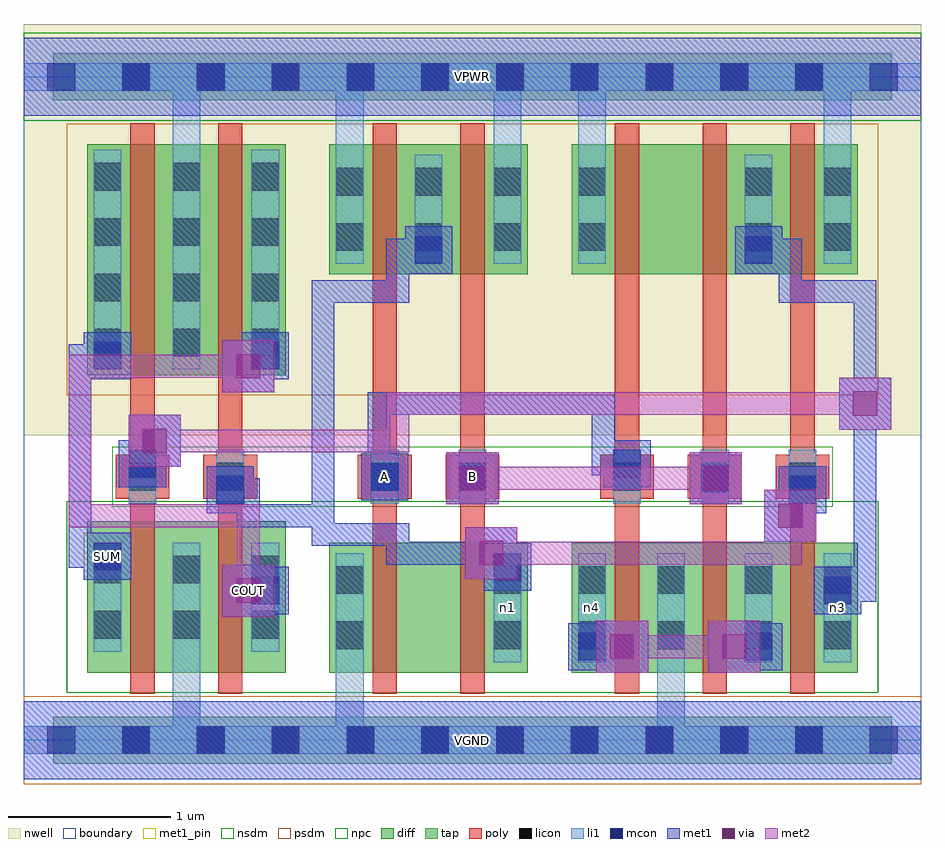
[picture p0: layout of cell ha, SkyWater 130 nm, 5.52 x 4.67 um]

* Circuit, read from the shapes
.subckt ha A B COUT SUM VGND VPWR n1 n3 n4
XM1 VGND n3 SUM VGND sky130_fd_pr__nfet_01v8 w=0.93 l=0.15
XM2 COUT n1 VGND VGND sky130_fd_pr__nfet_01v8 w=0.93 l=0.15
XM3 n2 A VGND VGND sky130_fd_pr__nfet_01v8 w=0.8 l=0.15
XM4 n1 B n2 VGND sky130_fd_pr__nfet_01v8 w=0.8 l=0.15
XM5 VGND A n4 VGND sky130_fd_pr__nfet_01v8 w=0.8 l=0.15
XM6 n4 B VGND VGND sky130_fd_pr__nfet_01v8 w=0.8 l=0.15
XM7 n3 n1 n4 VGND sky130_fd_pr__nfet_01v8 w=0.8 l=0.15
XM8 VPWR n3 SUM VPWR sky130_fd_pr__pfet_01v8 w=1.42 l=0.15
XM9 COUT n1 VPWR VPWR sky130_fd_pr__pfet_01v8 w=1.42 l=0.15
XM10 n1 A VPWR VPWR sky130_fd_pr__pfet_01v8 w=0.8 l=0.15
XM11 VPWR B n1 VPWR sky130_fd_pr__pfet_01v8 w=0.8 l=0.15
XM12 n5 A VPWR VPWR sky130_fd_pr__pfet_01v8 w=0.8 l=0.15
XM13 n3 B n5 VPWR sky130_fd_pr__pfet_01v8 w=0.8 l=0.15
XM14 VPWR n1 n3 VPWR sky130_fd_pr__pfet_01v8 w=0.8 l=0.15
.ends

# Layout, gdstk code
import gdstk
lib = gdstk.Library(unit=1e-6, precision=1e-09)
def R(c, l, rs):  # rectangles x0, y0, x1, y1
    for r in rs: c.add(gdstk.rectangle(r[:2], r[2:], *l))
def A(c, l, x, y, w, h, nx, ny, dx, dy):  # array of equal rectangles
    R(c, l, [(x+i*dx, y+j*dy, x+i*dx+w, y+j*dy+h) for i in range(nx) for j in range(ny)])
nwell = (64, 20)
diff = (65, 20)
tap = (65, 44)
poly = (66, 20)
licon = (66, 44)
li1 = (67, 20)
mcon = (67, 44)
met1_pin = (68, 16)
met1 = (68, 20)
via = (68, 44)
met2 = (69, 20)
nsdm = (93, 44)
psdm = (94, 20)
npc = (95, 20)
boundary = (235, 4)

c_ha = lib.new_cell('ha')
R(c_ha, nwell, [(0,1.875,5.52,4.405)])
R(c_ha, diff, [(0.39,0.415,1.61,1.345), (1.88,0.415,3.1,1.215), (3.37,0.415,5.13,1.215), (0.39,2.245,1.61,3.665), (1.88,2.865,3.1,3.665), (3.37,2.865,5.13,3.665)])
R(c_ha, tap, [(0.18,-0.145,5.34,0.145), (0.18,3.935,5.34,4.225)])
A(c_ha, poly, 3.635, 0.285, 0.15, 3.51, 3, 1, 0.54, 0)
A(c_ha, poly, 3.545, 1.485, 0.33, 0.27, 3, 1, 0.54, 0)
R(c_ha, poly, [(0.655,0.285,0.805,3.795), (1.195,0.285,1.345,3.795), (2.145,0.285,2.295,3.795), (2.685,0.285,2.835,3.795), (0.565,1.485,0.895,1.755), (1.105,1.485,1.435,1.755), (2.055,1.485,2.385,1.755), (2.595,1.485,2.925,1.755)])
A(c_ha, licon, 0.605, -0.085, 0.17, 0.17, 10, 2, 0.46, 4.08)
A(c_ha, licon, 0.43, 0.625, 0.17, 0.17, 3, 2, 0.485, 0.34)
A(c_ha, licon, 3.625, 1.535, 0.17, 0.17, 3, 1, 0.54, 0)
A(c_ha, licon, 0.43, 2.36, 0.17, 0.17, 3, 4, 0.485, 0.34)
A(c_ha, licon, 1.92, 3.01, 0.17, 0.17, 3, 2, 0.485, 0.34)
R(c_ha, licon, [(1.92,0.56,2.09,0.73), (2.89,0.56,3.06,0.73), (3.41,0.56,3.58,0.73), (3.895,0.56,4.065,0.73), (4.435,0.56,4.605,0.73), (4.92,0.56,5.09,0.73), (1.92,0.9,2.09,1.07), (2.89,0.9,3.06,1.07), (3.41,0.9,3.58,1.07), (3.895,0.9,4.065,1.07), (4.435,0.9,4.605,1.07), (4.92,0.9,5.09,1.07), (0.645,1.535,0.815,1.705), (1.185,1.535,1.355,1.705), (2.135,1.535,2.305,1.705), (2.675,1.535,2.845,1.705), (3.41,3.01,3.58,3.18), (4.435,3.01,4.605,3.18), (4.92,3.01,5.09,3.18), (3.41,3.35,3.58,3.52), (4.435,3.35,4.605,3.52), (4.92,3.35,5.09,3.52)])
A(c_ha, li1, 0.43, 0.545, 0.17, 0.67, 3, 1, 0.485, 0)
A(c_ha, li1, 3.625, 1.455, 0.17, 0.33, 3, 1, 0.54, 0)
A(c_ha, li1, 0.43, 2.28, 0.17, 1.35, 3, 1, 0.485, 0)
A(c_ha, li1, 1.92, 2.93, 0.17, 0.67, 3, 1, 0.485, 0)
R(c_ha, li1, [(0,-0.085,5.52,0.085), (0.915,-0.085,1.085,1.215), (1.92,-0.085,2.09,1.15), (3.895,-0.085,4.065,1.15), (1.92,0.48,2.09,1.15), (2.89,0.48,3.06,1.15), (3.41,0.48,3.58,1.15), (3.895,0.48,4.065,1.15), (4.435,0.48,4.605,1.15), (4.92,0.48,5.09,1.15), (0.645,1.455,0.815,1.785), (1.185,1.455,1.355,1.785), (2.135,1.455,2.305,1.785), (2.675,1.455,2.845,1.785), (0.915,2.28,1.085,4.165), (1.92,2.93,2.09,4.165), (2.89,2.93,3.06,4.165), (3.41,2.93,3.58,3.6), (3.41,2.93,3.58,4.165), (4.435,2.93,4.605,3.6), (4.92,2.93,5.09,3.6), (4.92,2.93,5.09,4.165), (0,3.995,5.52,4.165)])
A(c_ha, mcon, 0.145, -0.085, 0.17, 0.17, 12, 2, 0.46, 4.08)
R(c_ha, mcon, [(3.41,0.49,3.58,0.66), (4.435,0.49,4.605,0.66), (1.4,0.835,1.57,1.005), (4.92,0.835,5.09,1.005), (2.89,0.98,3.06,1.15), (0.43,1.045,0.6,1.215), (1.185,1.455,1.355,1.625), (4.705,1.455,4.875,1.625), (4.165,1.525,4.335,1.695), (2.135,1.535,2.305,1.705), (2.675,1.535,2.845,1.705), (0.645,1.615,0.815,1.785), (3.625,1.615,3.795,1.785), (0.43,2.28,0.6,2.45), (1.4,2.28,1.57,2.45), (2.405,2.93,2.575,3.1), (4.435,2.93,4.605,3.1)])
R(c_ha, met1_pin, [(0,-0.24,5.52,0.24), (1.22,0.76,1.54,1.08), (0.37,0.985,0.66,1.275), (2.075,1.475,2.365,1.765), (2.615,1.475,2.905,1.765), (0,3.84,5.52,4.32)])
R(c_ha, met1, [(0,-0.24,5.52,0.24), (3.52,0.415,3.84,0.735), (4.21,0.415,4.53,0.735), (3.35,0.43,3.64,0.72), (4.375,0.43,4.665,0.72), (3.425,0.505,3.75,0.645), (4.3,0.505,4.59,0.645), (1.22,0.76,1.54,1.08), (1.34,0.775,1.63,1.065), (4.86,0.775,5.15,1.065), (1.31,0.85,1.555,0.99), (4.935,0.85,5.245,0.99), (5.105,0.85,5.245,2.83), (2.83,0.92,3.12,1.21), (0.37,0.985,0.66,1.275), (2.715,0.99,3.035,1.31), (2.805,0.995,3.045,1.135), (2.805,0.995,2.945,1.22), (0.275,1.06,0.585,1.2), (0.275,1.06,0.415,1.335), (2.23,1.08,2.37,1.335), (2.23,1.08,2.945,1.22), (0.275,1.195,0.415,2.255), (1.77,1.195,2.37,1.335), (1.77,1.195,1.91,1.45), (4.555,1.22,4.875,1.54), (1.31,1.31,1.45,1.61), (1.31,1.31,1.91,1.45), (1.77,1.31,1.91,2.83), (4.645,1.31,4.785,1.61), (1.125,1.395,1.415,1.685), (4.645,1.395,4.935,1.685), (2.6,1.45,2.92,1.77), (4.095,1.45,4.415,1.77), (4.105,1.465,4.395,1.755), (1.2,1.47,1.45,1.61), (4.645,1.47,4.86,1.61), (2.075,1.475,2.365,1.765), (2.615,1.475,2.905,1.765), (2.115,1.54,2.255,1.68), (2.115,1.54,2.255,2.14), (2.69,1.54,2.83,1.68), (4.18,1.54,4.325,1.68), (0.585,1.555,0.875,1.845), (3.565,1.555,3.855,1.845), (0.66,1.63,0.875,1.77), (0.735,1.63,0.875,1.91), (3.495,1.63,3.635,1.91), (3.495,1.63,3.78,1.77), (0.645,1.68,0.965,2), (3.495,1.77,3.635,2.14), (5.015,1.91,5.335,2.23), (2.115,2,3.635,2.14), (0.275,2.115,0.415,2.435), (1.22,2.14,1.54,2.46), (0.37,2.22,0.66,2.51), (1.34,2.22,1.63,2.51), (1.31,2.23,1.45,2.435), (0.275,2.295,0.585,2.435), (1.31,2.295,1.555,2.435), (1.77,2.69,2.37,2.83), (2.23,2.69,2.37,2.945), (4.645,2.69,5.245,2.83), (4.645,2.69,4.785,2.945), (2.23,2.805,2.37,3.085), (4.645,2.805,4.785,3.085), (2.345,2.87,2.635,3.16), (4.375,2.87,4.665,3.16), (2.23,2.945,2.56,3.085), (4.45,2.945,4.785,3.085), (0,3.84,5.52,4.32)])
R(c_ha, via, [(3.605,0.5,3.755,0.65), (4.295,0.5,4.445,0.65), (1.305,0.845,1.455,0.995), (2.8,1.075,2.95,1.225), (4.64,1.305,4.79,1.455), (2.685,1.535,2.835,1.685), (4.18,1.535,4.33,1.685), (0.73,1.765,0.88,1.915), (5.1,1.995,5.25,2.145), (1.305,2.225,1.455,2.375)])
R(c_ha, met2, [(3.52,0.415,3.84,0.735), (4.21,0.415,4.53,0.735), (3.61,0.505,4.44,0.645), (1.22,0.76,1.54,1.08), (1.31,0.85,1.45,1.45), (2.715,0.99,3.035,1.31), (2.805,1.08,4.785,1.22), (4.645,1.08,4.785,1.45), (4.555,1.22,4.875,1.54), (0.275,1.31,1.45,1.45), (0.275,1.31,0.415,2.37), (2.6,1.45,2.92,1.77), (4.095,1.45,4.415,1.77), (2.69,1.54,4.325,1.68), (0.645,1.68,0.965,2), (0.735,1.77,2.37,1.91), (2.23,1.77,2.37,2.14), (5.015,1.91,5.335,2.23), (2.23,2,5.245,2.14), (1.22,2.14,1.54,2.46), (0.275,2.23,1.45,2.37)])
R(c_ha, nsdm, [(0.265,0.29,5.255,1.47), (0,3.81,5.52,4.35)])
R(c_ha, psdm, [(0,-0.27,5.52,0.27), (0.265,2.12,5.255,3.79)])
R(c_ha, npc, [(0.545,1.435,4.975,1.805)])
R(c_ha, boundary, [(0,0,5.52,4.08)])
c_ha.add(gdstk.Label('n1', (2.975,0.815), layer=67, texttype=5))
c_ha.add(gdstk.Label('n4', (3.495,0.815), layer=67, texttype=5))
c_ha.add(gdstk.Label('n3', (5.005,0.815), layer=67, texttype=5))
c_ha.add(gdstk.Label('A', (2.22,1.62), layer=68, texttype=5))
c_ha.add(gdstk.Label('B', (2.76,1.62), layer=68, texttype=5))
c_ha.add(gdstk.Label('SUM', (0.515,1.13), layer=68, texttype=5))
c_ha.add(gdstk.Label('COUT', (1.38,0.92), layer=68, texttype=5))
c_ha.add(gdstk.Label('VPWR', (2.76,4.08), layer=68, texttype=5))
c_ha.add(gdstk.Label('VGND', (2.76,0), layer=68, texttype=5))
c_ha.add(gdstk.Label('A', (2.22,1.62), layer=68, texttype=16))
c_ha.add(gdstk.Label('B', (2.76,1.62), layer=68, texttype=16))
c_ha.add(gdstk.Label('SUM', (0.515,1.13), layer=68, texttype=16))
c_ha.add(gdstk.Label('COUT', (1.38,0.92), layer=68, texttype=16))
c_ha.add(gdstk.Label('VPWR', (2.76,4.08), layer=68, texttype=16))
c_ha.add(gdstk.Label('VGND', (2.76,0), layer=68, texttype=16))

lib.write_gds('ha.gds')
